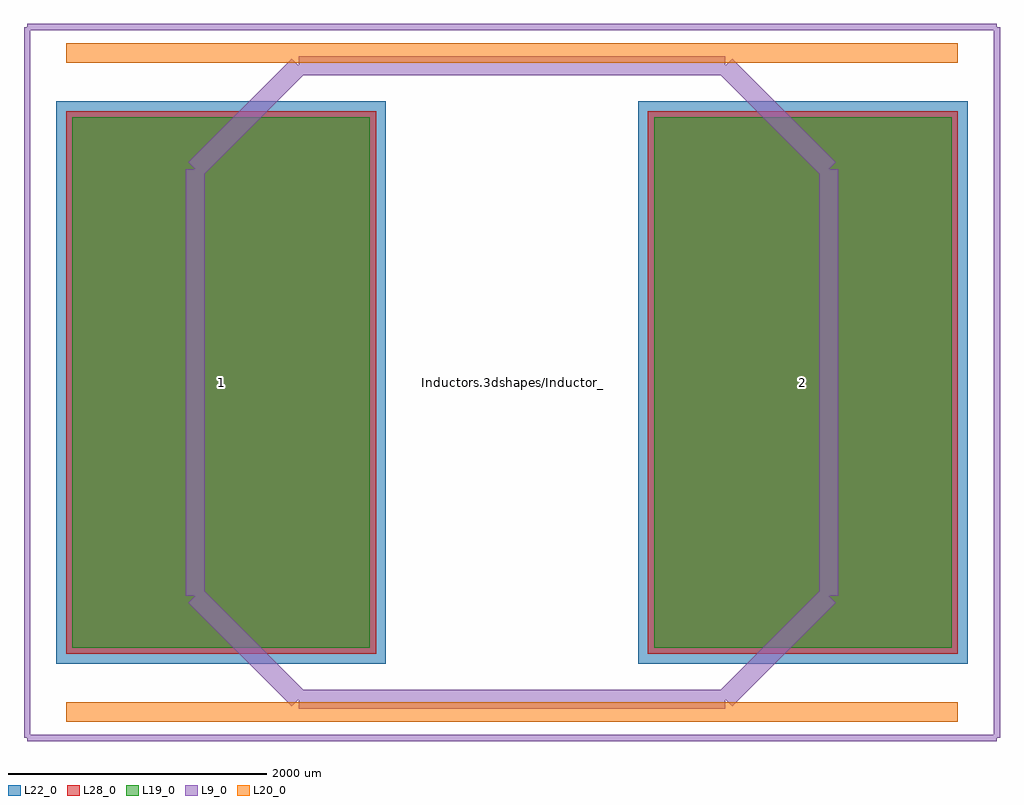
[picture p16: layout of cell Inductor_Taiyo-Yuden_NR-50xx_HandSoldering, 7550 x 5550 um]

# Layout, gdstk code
import gdstk
lib = gdstk.Library(unit=1e-6, precision=1e-09)
def R(c, l, rs):  # rectangles x0, y0, x1, y1
    for r in rs: c.add(gdstk.rectangle(r[:2], r[2:], *l))
L9_0 = (9, 0)
L19_0 = (19, 0)
L20_0 = (20, 0)
L22_0 = (22, 0)
L28_0 = (28, 0)

inductor_taiyo_yuden_nr_ = lib.new_cell('Inductor_Taiyo-Yuden_NR-50xx_HandSoldering')
R(inductor_taiyo_yuden_nr_, L19_0, [(-3400,-2050,-1100,2050), (1100,-2050,3400,2050)])
R(inductor_taiyo_yuden_nr_, L22_0, [(-3525,-2175,-975,2175), (975,-2175,3525,2175)])
R(inductor_taiyo_yuden_nr_, L28_0, [(-3450,-2100,-1050,2100), (1050,-2100,3450,2100)])
inductor_taiyo_yuden_nr_.add(gdstk.FlexPath([(3750,2750),(-3750,2750)], 50, ends="flush", simple_path=True, layer=9, datatype=0))  # L9_0
inductor_taiyo_yuden_nr_.add(gdstk.FlexPath([(3750,-2750),(3750,2750)], 50, ends="flush", simple_path=True, layer=9, datatype=0))  # L9_0
inductor_taiyo_yuden_nr_.add(gdstk.FlexPath([(-3750,-2750),(3750,-2750)], 50, ends="flush", simple_path=True, layer=9, datatype=0))  # L9_0
inductor_taiyo_yuden_nr_.add(gdstk.FlexPath([(-3750,2750),(-3750,-2750)], 50, ends="flush", simple_path=True, layer=9, datatype=0))  # L9_0
inductor_taiyo_yuden_nr_.add(gdstk.FlexPath([(-3450,-2550),(3450,-2550)], 149.998, ends="flush", simple_path=True, layer=20, datatype=0))  # L20_0
inductor_taiyo_yuden_nr_.add(gdstk.FlexPath([(-3450,2550),(3450,2550)], 149.998, ends="flush", simple_path=True, layer=20, datatype=0))  # L20_0
inductor_taiyo_yuden_nr_.add(gdstk.FlexPath([(-1650,-2450),(0,-2450)], 149.998, ends="flush", simple_path=True, layer=9, datatype=0))  # L9_0
inductor_taiyo_yuden_nr_.add(gdstk.FlexPath([(-2450,-1650),(-1650,-2450)], 149.998, ends="flush", simple_path=True, layer=9, datatype=0))  # L9_0
inductor_taiyo_yuden_nr_.add(gdstk.FlexPath([(-2450,0),(-2450,-1650)], 149.998, ends="flush", simple_path=True, layer=9, datatype=0))  # L9_0
inductor_taiyo_yuden_nr_.add(gdstk.FlexPath([(1650,-2450),(0,-2450)], 149.998, ends="flush", simple_path=True, layer=9, datatype=0))  # L9_0
inductor_taiyo_yuden_nr_.add(gdstk.FlexPath([(2450,-1650),(1650,-2450)], 149.998, ends="flush", simple_path=True, layer=9, datatype=0))  # L9_0
inductor_taiyo_yuden_nr_.add(gdstk.FlexPath([(2450,0),(2450,-1650)], 149.998, ends="flush", simple_path=True, layer=9, datatype=0))  # L9_0
inductor_taiyo_yuden_nr_.add(gdstk.FlexPath([(1650,2450),(0,2450)], 149.998, ends="flush", simple_path=True, layer=9, datatype=0))  # L9_0
inductor_taiyo_yuden_nr_.add(gdstk.FlexPath([(2450,1650),(1650,2450)], 149.998, ends="flush", simple_path=True, layer=9, datatype=0))  # L9_0
inductor_taiyo_yuden_nr_.add(gdstk.FlexPath([(2450,0),(2450,1650)], 149.998, ends="flush", simple_path=True, layer=9, datatype=0))  # L9_0
inductor_taiyo_yuden_nr_.add(gdstk.FlexPath([(-1650,2450),(0,2450)], 149.998, ends="flush", simple_path=True, layer=9, datatype=0))  # L9_0
inductor_taiyo_yuden_nr_.add(gdstk.FlexPath([(-2450,1650),(-1650,2450)], 149.998, ends="flush", simple_path=True, layer=9, datatype=0))  # L9_0
inductor_taiyo_yuden_nr_.add(gdstk.FlexPath([(-2450,0),(-2450,1650)], 149.998, ends="flush", simple_path=True, layer=9, datatype=0))  # L9_0
inductor_taiyo_yuden_nr_.add(gdstk.Label('Inductors.3dshapes/Inductor_Taiyo-Yuden_NR-50xx.wrl', (0,0), layer=12, texttype=0))
inductor_taiyo_yuden_nr_.add(gdstk.Label('2', (2250,0), layer=28, texttype=0))
inductor_taiyo_yuden_nr_.add(gdstk.Label('1', (-2250,0), layer=28, texttype=0))
inductor_taiyo_yuden_nr_.add(gdstk.Label('type', (0,-3950), layer=9, texttype=0))
inductor_taiyo_yuden_nr_.add(gdstk.Label('devicename', (0,3450), layer=9, texttype=0))

lib.write_gds('Inductor_Taiyo-Yuden_NR-50xx_HandSoldering.gds')
